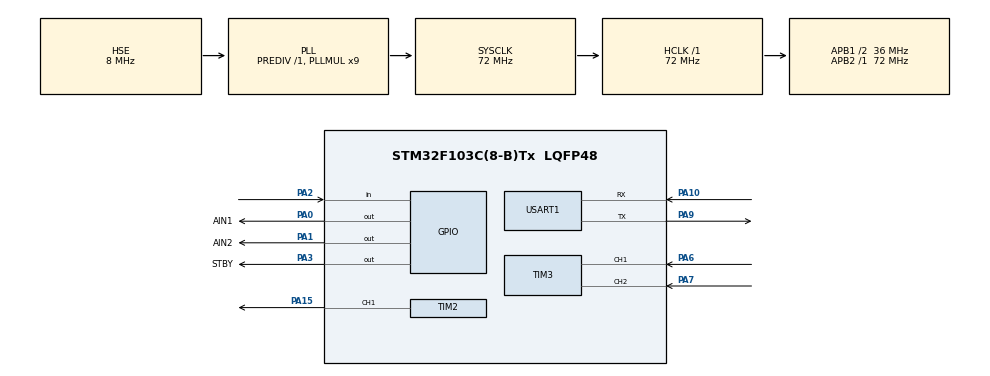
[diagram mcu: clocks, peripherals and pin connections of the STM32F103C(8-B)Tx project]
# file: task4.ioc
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Mcu.Family=STM32F1
Mcu.Name=STM32F103C(8-B)Tx
Mcu.Package=LQFP48
NVIC.PriorityGroup=NVIC_PRIORITYGROUP_4
NVIC.TIM1_UP_IRQn=true\:0\:0\:false\:false\:true\:true\:true\:true
PA0-WKUP.GPIO_Label=AIN1
PA0-WKUP.Signal=GPIO_Output
PA1.GPIO_Label=AIN2
PA1.Signal=GPIO_Output
PA10.Mode=Asynchronous
PA10.Signal=USART1_RX
PA13.Mode=Serial_Wire
PA13.Signal=SYS_JTMS-SWDIO
PA14.Mode=Serial_Wire
PA14.Signal=SYS_JTCK-SWCLK
PA15.Signal=S_TIM2_CH1_ETR
PA2.GPIO_PuPd=GPIO_PULLUP
PA2.Signal=GPIO_Input
PA3.GPIO_Label=STBY
PA3.Signal=GPIO_Output
PA6.Signal=S_TIM3_CH1
PA7.Signal=S_TIM3_CH2
PA9.Mode=Asynchronous
PA9.Signal=USART1_TX
PC14-OSC32_IN.Mode=LSE-External-Oscillator
PC14-OSC32_IN.Signal=RCC_OSC32_IN
PC15-OSC32_OUT.Mode=LSE-External-Oscillator
PC15-OSC32_OUT.Signal=RCC_OSC32_OUT
PD0-OSC_IN.Mode=HSE-External-Oscillator
PD0-OSC_IN.Signal=RCC_OSC_IN
PD1-OSC_OUT.Mode=HSE-External-Oscillator
PD1-OSC_OUT.Signal=RCC_OSC_OUT
ProjectManager.HeapSize=0x200
ProjectManager.StackSize=0x400
ProjectManager.TargetToolchain=MDK-ARM V5.32
RCC.AHBFreq_Value=72000000
RCC.APB1CLKDivider=RCC_HCLK_DIV2
RCC.APB1Freq_Value=36000000
RCC.APB1TimFreq_Value=72000000
RCC.APB2Freq_Value=72000000
RCC.APB2TimFreq_Value=72000000
RCC.HCLKFreq_Value=72000000
RCC.PLLMUL=RCC_PLL_MUL9
RCC.PLLSourceVirtual=RCC_PLLSOURCE_HSE
RCC.SYSCLKFreq_VALUE=72000000
RCC.SYSCLKSource=RCC_SYSCLKSOURCE_PLLCLK
RCC.USBFreq_Value=72000000
SH.S_TIM2_CH1_ETR.0=TIM2_CH1,PWM Generation1 CH1
SH.S_TIM3_CH1.0=TIM3_CH1,Encoder_Interface
SH.S_TIM3_CH2.0=TIM3_CH2,Encoder_Interface
TIM1.AutoReloadPreload=TIM_AUTORELOAD_PRELOAD_ENABLE
TIM1.Period=100-1
TIM1.Prescaler=7200-1
TIM2.Channel-PWM\ Generation1\ CH1=TIM_CHANNEL_1
TIM2.Period=1000-1
TIM2.Prescaler=72-1
TIM3.EncoderMode=TIM_ENCODERMODE_TI12
TIM3.IC1Filter=15
TIM3.IC2Filter=15
USART1.VirtualMode=VM_ASYNC
VP_TIM1_VS_ClockSourceINT.Mode=Internal
board=custom

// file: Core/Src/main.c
/* USER CODE BEGIN Header */
/**
  ******************************************************************************
  * @file           : main.c
  * @brief          : Main program body
  ******************************************************************************
  * @attention
  *
  * Copyright (c) 2025 STMicroelectronics.
  * All rights reserved.
  *
  * This software is licensed under terms that can be found in the LICENSE file
  * in the root directory of this software component.
  * If no LICENSE file comes with this software, it is provided AS-IS.
  *
  ******************************************************************************
  */
/* USER CODE END Header */
#include "main.h"
#include "tim.h"
#include "usart.h"
#include "gpio.h"

/* USER CODE BEGIN Includes */
void Set_Motor_PWM(uint32_t pwm);
void Button_Scan(void);
void PID_Control(void);
#include<stdio.h>
#include"key_timer.h"
/* USER CODE END Includes */

/* USER CODE BEGIN PD */
#define ENCODER_PULSES_PER_REV 13.0f
/* USER CODE END PD */

/* USER CODE BEGIN PV */
typedef struct {
    float Kp, Ki, Kd;
    float last_error;
    float prev_error;
    float integral;
} PID_t;

typedef enum {
    MOTOR_MODE1 = 0,
    MOTOR_MODE2,
    MOTOR_MODE3
} Motor_ModeTypeDef;

volatile static Motor_ModeTypeDef motor_mode = MOTOR_MODE1;

PID_t speed_pid = {1.5f, 0.4f, 0.1f, 0.0f, 0.0f, 0.0f};
volatile float target_speed = 1.0f;
volatile float actual_speed = 0.0f;
volatile uint32_t pwm_value = 400;

volatile int32_t encoder_total = 0;
volatile int16_t encoder_last = 0;

volatile uint32_t speed_calc_time = 0;
volatile int32_t last_encoder_total = 0;
volatile uint32_t vofa_send_counter = 0;

/* USER CODE END PV */

void SystemClock_Config(void);
/* USER CODE BEGIN PFP */
void Update_Encoder_Count(void);
void Calculate_Speed(void);
float Incremental_PID_Calculate(float target, float current) ;
void Set_Motor_PWM(uint32_t pwm);
/* USER CODE END PFP */

/* USER CODE BEGIN 0 */
// 重定向printf到串口，确保每次只发�?1个字节[citation:1]
#ifdef __GNUC__
#define PUTCHAR_PROTOTYPE int __io_putchar(int ch)
#else
#define PUTCHAR_PROTOTYPE int fputc(int ch, FILE *f)
#endif

PUTCHAR_PROTOTYPE {
    HAL_UART_Transmit(&huart1, (uint8_t *)&ch, 1, HAL_MAX_DELAY); // 注意&huart1�?与您实际使用的串口一�?
    return ch;
}
/* USER CODE END 0 */

int main(void)
{

  /* MCU Configuration--------------------------------------------------------*/

  /* Reset of all peripherals, Initializes the Flash interface and the Systick. */
  HAL_Init();

  /* Configure the system clock */
  SystemClock_Config();

  /* Initialize all configured peripherals */
  MX_GPIO_Init();
  MX_TIM1_Init();
  MX_TIM2_Init();
  MX_TIM3_Init();
  MX_USART1_UART_Init();
  /* USER CODE BEGIN 2 */
HAL_TIM_Encoder_Start(&htim3, TIM_CHANNEL_ALL);
HAL_TIM_PWM_Start(&htim2, TIM_CHANNEL_1);
HAL_TIM_Base_Start_IT(&htim1);
HAL_GPIO_WritePin(GPIOA,GPIO_PIN_3,GPIO_PIN_SET);
Set_Motor_PWM(pwm_value);
  /* USER CODE END 2 */

  /* Infinite loop */
  /* USER CODE BEGIN WHILE */
  while (1)
  {
      Key_StateTypeDef key = Key_GetState();
	  if (key == KEY_PRESSED)
		{
			motor_mode = (Motor_ModeTypeDef)( ( (int)motor_mode + 1 ) & 3 );
            switch (motor_mode)
			{
                case MOTOR_MODE1:
                    target_speed=1.0f;
                    break;
                case MOTOR_MODE2:
                   target_speed=2.0f;
                    break;
                case MOTOR_MODE3:
                    target_speed=3.0f;
                    break;
                default:
                   target_speed=1.0f;
                    break;
			}
		}

    /* USER CODE END WHILE */

  }
}

void SystemClock_Config(void)
{
  RCC_OscInitTypeDef RCC_OscInitStruct = {0};
  RCC_ClkInitTypeDef RCC_ClkInitStruct = {0};

  /** Initializes the RCC Oscillators according to the specified parameters
  * in the RCC_OscInitTypeDef structure.
  */
  RCC_OscInitStruct.OscillatorType = RCC_OSCILLATORTYPE_HSE;
  RCC_OscInitStruct.HSEState = RCC_HSE_ON;
  RCC_OscInitStruct.HSEPredivValue = RCC_HSE_PREDIV_DIV1;
  RCC_OscInitStruct.HSIState = RCC_HSI_ON;
  RCC_OscInitStruct.PLL.PLLState = RCC_PLL_ON;
  RCC_OscInitStruct.PLL.PLLSource = RCC_PLLSOURCE_HSE;
  RCC_OscInitStruct.PLL.PLLMUL = RCC_PLL_MUL9;
  if (HAL_RCC_OscConfig(&RCC_OscInitStruct) != HAL_OK)
  {
    Error_Handler();
  }

  /** Initializes the CPU, AHB and APB buses clocks
  */
  RCC_ClkInitStruct.ClockType = RCC_CLOCKTYPE_HCLK|RCC_CLOCKTYPE_SYSCLK
                              |RCC_CLOCKTYPE_PCLK1|RCC_CLOCKTYPE_PCLK2;
  RCC_ClkInitStruct.SYSCLKSource = RCC_SYSCLKSOURCE_PLLCLK;
  RCC_ClkInitStruct.AHBCLKDivider = RCC_SYSCLK_DIV1;
  RCC_ClkInitStruct.APB1CLKDivider = RCC_HCLK_DIV2;
  RCC_ClkInitStruct.APB2CLKDivider = RCC_HCLK_DIV1;

  if (HAL_RCC_ClockConfig(&RCC_ClkInitStruct, FLASH_LATENCY_2) != HAL_OK)
  {
    Error_Handler();
  }
}

/* USER CODE BEGIN 4 */
void Update_Encoder_Count(void)
{
    int16_t current_count = TIM3->CNT;
    int16_t diff = current_count - encoder_last;
    if(diff > 32767) diff -= 65536;
    else if(diff < -32767) diff += 65536;

    encoder_total += diff;
    encoder_last = current_count;
}

void Calculate_Speed(void)
{
    static uint32_t last_calc_time = 0;
    uint32_t current_time = HAL_GetTick();
    if(current_time - last_calc_time >= 100)
    {
        int32_t count_diff = encoder_total - last_encoder_total;

        actual_speed = (count_diff / ENCODER_PULSES_PER_REV) / (0.1f); // 100ms = 0.1s

        last_encoder_total = encoder_total;
        last_calc_time = current_time;
    }
}
// 增量式PID计算
float Incremental_PID_Calculate(float target, float current)
{
    float error = target - current;
    float delta_p = speed_pid.Kp * (error - speed_pid.last_error);
    float delta_i = speed_pid.Ki * error;
    float delta_d = speed_pid.Kd * (error - 2*speed_pid.last_error + speed_pid.prev_error);

    float increment = delta_p + delta_i + delta_d;

    speed_pid.prev_error = speed_pid.last_error;
    speed_pid.last_error = error;

    return increment;
}

uint32_t Constrain(uint32_t value, uint32_t min_val, uint32_t max_val)
{
    if(value < min_val) return min_val;
    if(value > max_val) return max_val;
    return value;
}

void Set_Motor_PWM(uint32_t pwm)
{
	HAL_GPIO_WritePin(GPIOA,GPIO_PIN_0,GPIO_PIN_SET);
    HAL_GPIO_WritePin(GPIOA,GPIO_PIN_1, GPIO_PIN_RESET);
    pwm = Constrain(pwm, 0, 999);
    __HAL_TIM_SET_COMPARE(&htim2, TIM_CHANNEL_1, pwm);
    pwm_value = pwm;
}

void HAL_TIM_PeriodElapsedCallback(TIM_HandleTypeDef *htim)
{
    if(htim->Instance == TIM1)
	{
		 static uint8_t pid_counter = 0;
        Key_TimerScan();
        pid_counter++;
        if(pid_counter >= 1)
		{
            PID_Control();
            pid_counter = 0;
        }
    }
}

void VOFA_SendData(float target, float actual, uint32_t pwm, float error)
{
    printf("%.2f,%.2f,%.2f,%.2f\n", target, actual, (float)pwm, error);
}
void PID_Control(void)
{
    Update_Encoder_Count();
    Calculate_Speed();
    float pid_adjust = Incremental_PID_Calculate(target_speed, actual_speed);
    int32_t new_pwm = pwm_value + (int32_t)pid_adjust;
    Set_Motor_PWM(Constrain(new_pwm, 0, 999));
   vofa_send_counter++;
    if (vofa_send_counter >= 5)
	{
        VOFA_SendData(target_speed, actual_speed, pwm_value, target_speed - actual_speed);
        vofa_send_counter = 0;
    }
}

/* USER CODE END 4 */

void Error_Handler(void)
{
  __disable_irq();
  while (1)
  {
  }
}
